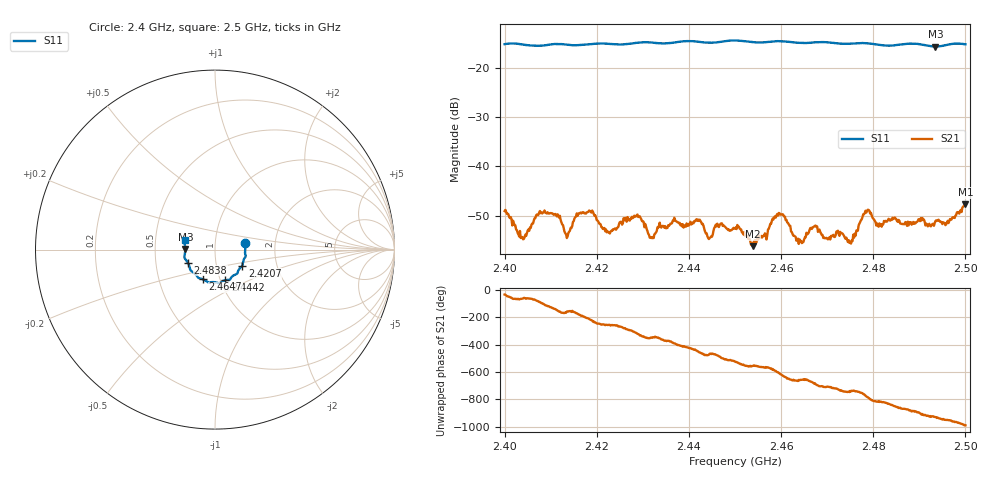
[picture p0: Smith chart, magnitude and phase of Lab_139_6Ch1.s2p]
# Hz S RI R 50
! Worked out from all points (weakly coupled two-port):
!   601 points, 2.4 GHz to 2.5 GHz, reference 50 ohm
!   highest |S21| = -47.73 dB at 2.5 GHz (marker M1); lowest = -56.2 dB at 2.4538 GHz (marker M2)
!   lowest |S11| = -15.7 dB at 2.4935 GHz (marker M3), VSWR 1.39, Z = 35.9 + j0.126 ohm
!   |S11| at or under -10 dB: start of sweep to end of sweep
!   S12 and S22 are empty: the file has one direction only
!   S11 on the Smith chart (normalised r, x): 2.4 GHz: 1.40, +0.11; 2.4207 GHz: 1.33, -0.24; 2.4442 GHz: 1.06, -0.37; 2.4647 GHz: 0.83, -0.28; 2.4838 GHz: 0.73, -0.11; 2.5 GHz: 0.71, +0.08
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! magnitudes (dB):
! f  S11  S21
! 2.4 GHz  -15.2  -49.1
! 2.404 GHz  -15.3  -54.8
! 2.4075 GHz  -15.5  -49.4
! 2.4115 GHz  -15.2  -49.7
! 2.4135 GHz  -15.3  -54.5
! 2.4167 GHz  -15.3  -49.5
! 2.4207 GHz  -15.1  -51.6
! 2.4287 GHz  -14.9  -49.9
! 2.4333 GHz  -15.0  -52.5
! 2.442 GHz  -14.7  -50.8
! 2.4442 GHz  -14.9  -54.5
! 2.45 GHz  -14.4  -52.6
! 2.4538 GHz  -14.8  -56.2
! 2.4597 GHz  -14.6  -49.5
! 2.4647 GHz  -15.0  -55.3
! 2.4667 GHz  -14.9  -52.7
! 2.475 GHz  -15.1  -55.3
! 2.4787 GHz  -15.0  -49.0
! 2.4833 GHz  -15.5  -50.6
! 2.4838 GHz  -15.5  -50.8
! 2.4935 GHz  -15.7  -51.1
! 2.5 GHz  -15.2  -47.7
